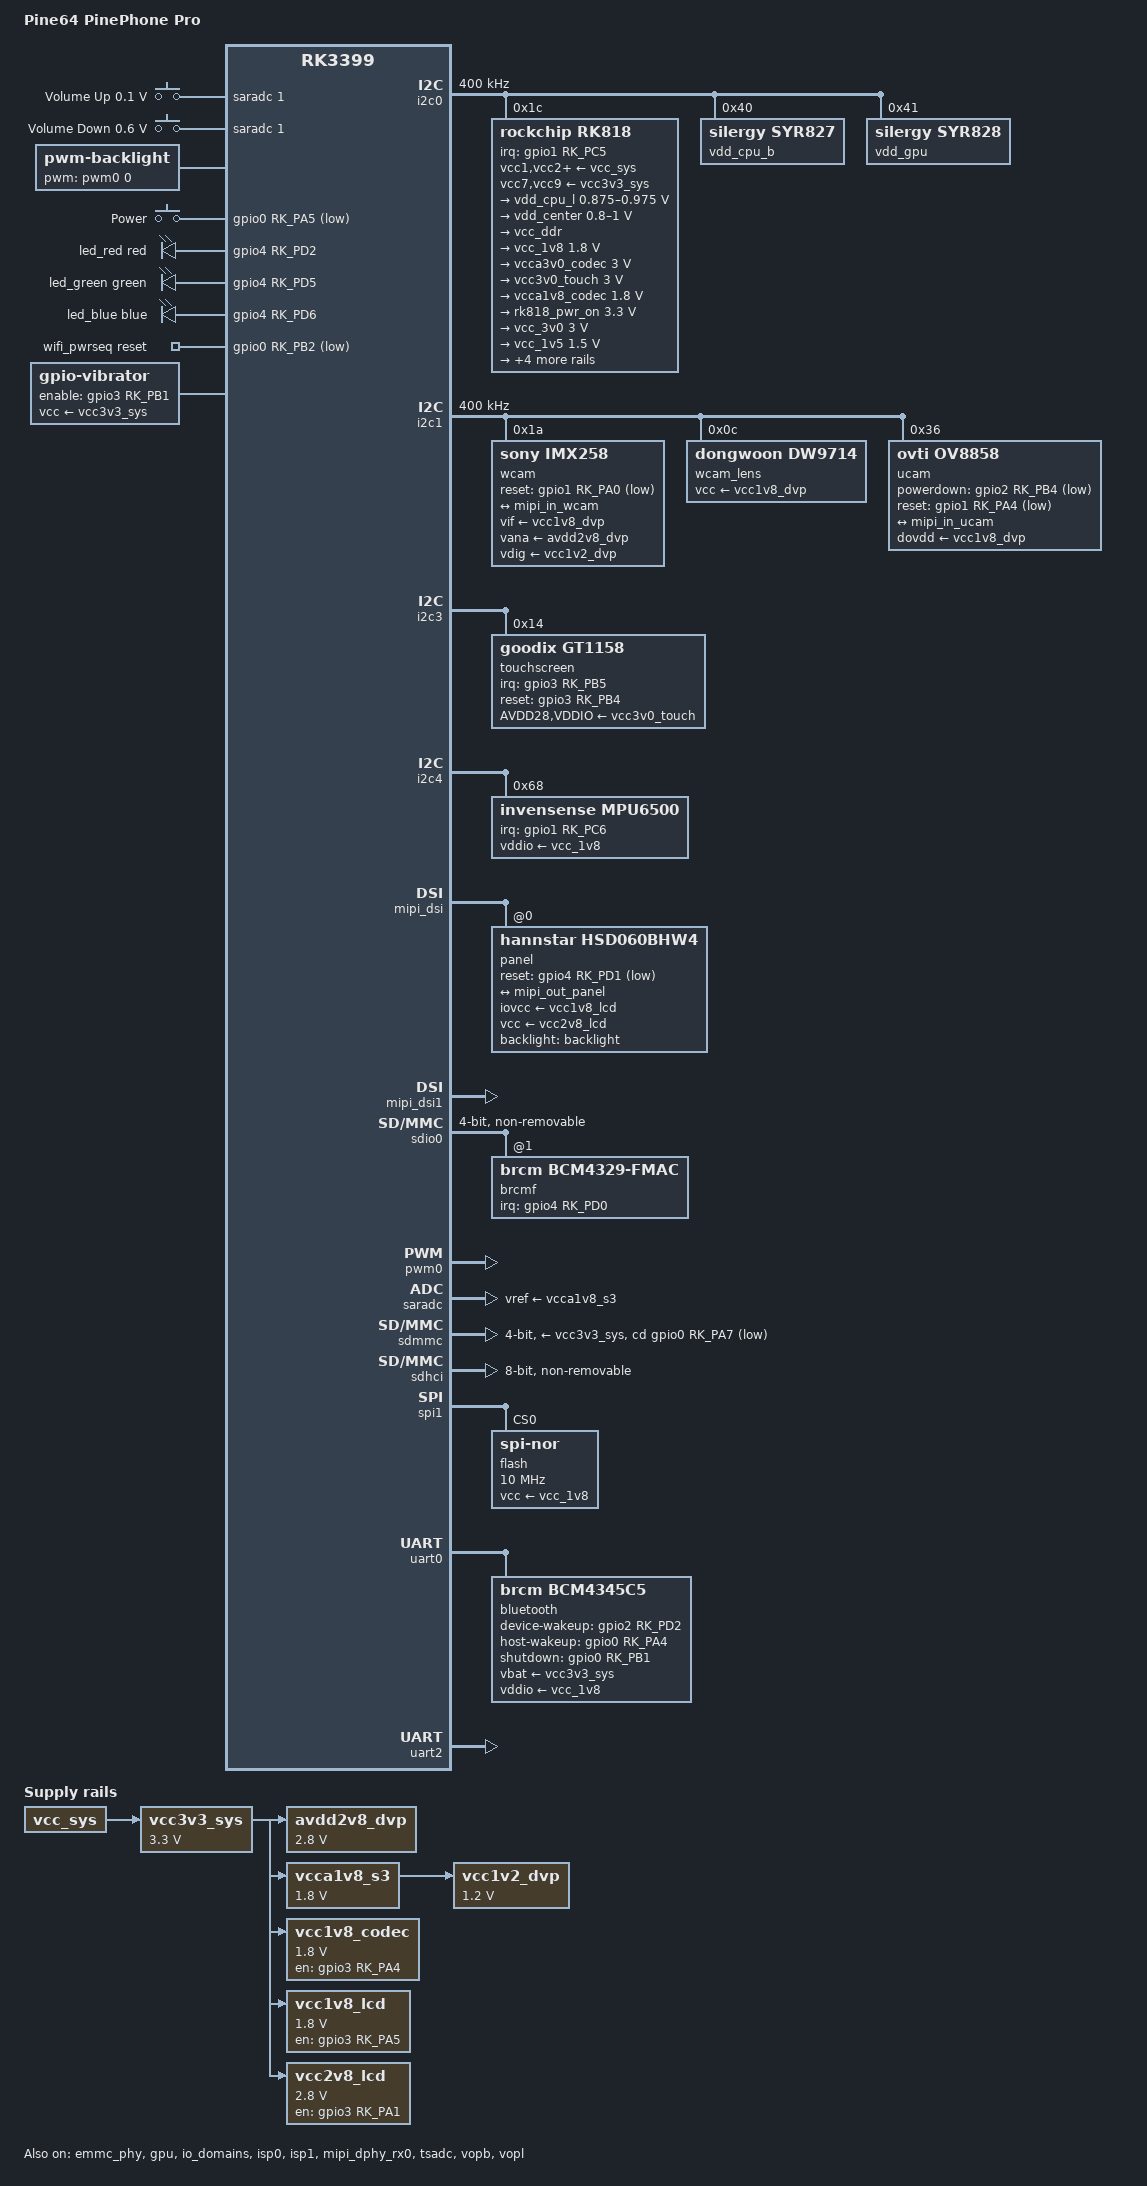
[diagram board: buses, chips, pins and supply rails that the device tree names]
// SPDX-License-Identifier: (GPL-2.0+ OR MIT)
/*
 * Copyright (c) 2020 Martijn Braam <martijn@brixit.nl>
 * Copyright (c) 2021 Kamil Trzciński <ayufan@ayufan.eu>
 */

/*
 * PinePhone Pro datasheet:
 * https://files.pine64.org/doc/PinePhonePro/PinephonePro-Schematic-V1.0-20211127.pdf
 */

/dts-v1/;
#include <dt-bindings/input/gpio-keys.h>
#include <dt-bindings/input/linux-event-codes.h>
#include <dt-bindings/leds/common.h>
#include "rk3399-s.dtsi"

/ {
	model = "Pine64 PinePhone Pro";
	compatible = "pine64,pinephone-pro", "rockchip,rk3399";
	chassis-type = "handset";

	aliases {
		mmc0 = &sdio0;
		mmc1 = &sdmmc;
		mmc2 = &sdhci;
	};

	chosen {
		stdout-path = "serial2:115200n8";
	};

	adc-keys {
		compatible = "adc-keys";
		io-channels = <&saradc 1>;
		io-channel-names = "buttons";
		keyup-threshold-microvolt = <1600000>;
		poll-interval = <100>;

		button-up {
			label = "Volume Up";
			linux,code = <KEY_VOLUMEUP>;
			press-threshold-microvolt = <100000>;
		};

		button-down {
			label = "Volume Down";
			linux,code = <KEY_VOLUMEDOWN>;
			press-threshold-microvolt = <600000>;
		};
	};

	backlight: backlight {
		compatible = "pwm-backlight";
		pwms = <&pwm0 0 50000 0>;
	};

	gpio-keys {
		compatible = "gpio-keys";
		pinctrl-names = "default";
		pinctrl-0 = <&pwrbtn_pin>;

		key-power {
			debounce-interval = <20>;
			gpios = <&gpio0 RK_PA5 GPIO_ACTIVE_LOW>;
			label = "Power";
			linux,code = <KEY_POWER>;
			wakeup-source;
		};
	};

	leds {
		compatible = "gpio-leds";
		pinctrl-names = "default";
		pinctrl-0 = <&red_led_pin &green_led_pin &blue_led_pin>;

		led_red: led-0 {
			color = <LED_COLOR_ID_RED>;
			gpios = <&gpio4 RK_PD2 GPIO_ACTIVE_HIGH>;
		};

		led_green: led-1 {
			color = <LED_COLOR_ID_GREEN>;
			gpios = <&gpio4 RK_PD5 GPIO_ACTIVE_HIGH>;
		};

		led_blue: led-2 {
			color = <LED_COLOR_ID_BLUE>;
			gpios = <&gpio4 RK_PD6 GPIO_ACTIVE_HIGH>;
		};
	};

	multi-led {
		compatible = "leds-group-multicolor";
		color = <LED_COLOR_ID_RGB>;
		function = LED_FUNCTION_INDICATOR;
		leds = <&led_red>, <&led_green>, <&led_blue>;
	};

	vcc_sys: regulator-vcc-sys {
		compatible = "regulator-fixed";
		regulator-name = "vcc_sys";
		regulator-always-on;
		regulator-boot-on;
	};

	avdd2v8_dvp: regulator-avdd2v8-dvp {
		compatible = "regulator-fixed";
		regulator-name = "avdd2v8_dvp";
		regulator-always-on;
		regulator-boot-on;
		regulator-min-microvolt = <2800000>;
		regulator-max-microvolt = <2800000>;
		vin-supply = <&vcc3v3_sys>;
	};

	vcc3v3_sys: regulator-vcc3v3-sys {
		compatible = "regulator-fixed";
		regulator-name = "vcc3v3_sys";
		regulator-always-on;
		regulator-boot-on;
		regulator-min-microvolt = <3300000>;
		regulator-max-microvolt = <3300000>;
		vin-supply = <&vcc_sys>;
	};

	vcca1v8_s3: regulator-vcc1v8-s3 {
		compatible = "regulator-fixed";
		regulator-name = "vcca1v8_s3";
		regulator-min-microvolt = <1800000>;
		regulator-max-microvolt = <1800000>;
		vin-supply = <&vcc3v3_sys>;
		regulator-always-on;
		regulator-boot-on;
	};

	vcc1v8_codec: regulator-vcc1v8-codec {
		compatible = "regulator-fixed";
		enable-active-high;
		gpio = <&gpio3 RK_PA4 GPIO_ACTIVE_HIGH>;
		pinctrl-names = "default";
		pinctrl-0 = <&vcc1v8_codec_en>;
		regulator-name = "vcc1v8_codec";
		regulator-min-microvolt = <1800000>;
		regulator-max-microvolt = <1800000>;
		vin-supply = <&vcc3v3_sys>;
	};

	vcc1v2_dvp: regulator-vcc1v2-dvp {
		compatible = "regulator-fixed";
		regulator-name = "vcc1v2_dvp";
		regulator-always-on;
		regulator-boot-on;
		regulator-min-microvolt = <1200000>;
		regulator-max-microvolt = <1200000>;
		vin-supply = <&vcca1v8_s3>;
	};

	wifi_pwrseq: sdio-wifi-pwrseq {
		compatible = "mmc-pwrseq-simple";
		clocks = <&rk818 1>;
		clock-names = "ext_clock";
		pinctrl-names = "default";
		pinctrl-0 = <&wifi_enable_h_pin>;
		/*
		 * Wait between power-on and SDIO access for CYP43455
		 * POR circuit.
		 */
		post-power-on-delay-ms = <110>;
		/*
		 * Wait between consecutive toggles for CYP43455 CBUCK
		 * regulator discharge.
		 */
		power-off-delay-us = <10000>;

		/* WL_REG_ON on module */
		reset-gpios = <&gpio0 RK_PB2 GPIO_ACTIVE_LOW>;
	};

	/* MIPI DSI panel 1.8v supply */
	vcc1v8_lcd: regulator-vcc1v8-lcd {
		compatible = "regulator-fixed";
		enable-active-high;
		regulator-name = "vcc1v8_lcd";
		regulator-min-microvolt = <1800000>;
		regulator-max-microvolt = <1800000>;
		vin-supply = <&vcc3v3_sys>;
		gpio = <&gpio3 RK_PA5 GPIO_ACTIVE_HIGH>;
	};

	/* MIPI DSI panel 2.8v supply */
	vcc2v8_lcd: regulator-vcc2v8-lcd {
		compatible = "regulator-fixed";
		enable-active-high;
		regulator-name = "vcc2v8_lcd";
		regulator-min-microvolt = <2800000>;
		regulator-max-microvolt = <2800000>;
		vin-supply = <&vcc3v3_sys>;
		gpio = <&gpio3 RK_PA1 GPIO_ACTIVE_HIGH>;
	};

	vibrator {
		compatible = "gpio-vibrator";
		enable-gpios = <&gpio3 RK_PB1 GPIO_ACTIVE_HIGH>;
		vcc-supply = <&vcc3v3_sys>;
	};
};

&cpu_alert0 {
	temperature = <65000>;
};
&cpu_alert1 {
	temperature = <68000>;
};

&cpu_l0 {
	cpu-supply = <&vdd_cpu_l>;
};

&cpu_l1 {
	cpu-supply = <&vdd_cpu_l>;
};

&cpu_l2 {
	cpu-supply = <&vdd_cpu_l>;
};

&cpu_l3 {
	cpu-supply = <&vdd_cpu_l>;
};

&cpu_b0 {
	cpu-supply = <&vdd_cpu_b>;
};

&cpu_b1 {
	cpu-supply = <&vdd_cpu_b>;
};

&emmc_phy {
	status = "okay";
};

&gpu {
	mali-supply = <&vdd_gpu>;
	status = "okay";
};

&i2c0 {
	clock-frequency = <400000>;
	i2c-scl-rising-time-ns = <168>;
	i2c-scl-falling-time-ns = <4>;
	status = "okay";

	rk818: pmic@1c {
		compatible = "rockchip,rk818";
		reg = <0x1c>;
		interrupt-parent = <&gpio1>;
		interrupts = <RK_PC5 IRQ_TYPE_LEVEL_LOW>;
		#clock-cells = <1>;
		clock-output-names = "xin32k", "rk808-clkout2";
		pinctrl-names = "default";
		pinctrl-0 = <&pmic_int_l>;
		system-power-controller;
		wakeup-source;

		vcc1-supply = <&vcc_sys>;
		vcc2-supply = <&vcc_sys>;
		vcc3-supply = <&vcc_sys>;
		vcc4-supply = <&vcc_sys>;
		vcc6-supply = <&vcc_sys>;
		vcc7-supply = <&vcc3v3_sys>;
		vcc8-supply = <&vcc_sys>;
		vcc9-supply = <&vcc3v3_sys>;

		regulators {
			vdd_cpu_l: DCDC_REG1 {
				regulator-name = "vdd_cpu_l";
				regulator-always-on;
				regulator-boot-on;
				regulator-min-microvolt = <875000>;
				regulator-max-microvolt = <975000>;
				regulator-ramp-delay = <6001>;
				regulator-state-mem {
					regulator-off-in-suspend;
				};
			};

			vdd_center: DCDC_REG2 {
				regulator-name = "vdd_center";
				regulator-always-on;
				regulator-boot-on;
				regulator-min-microvolt = <800000>;
				regulator-max-microvolt = <1000000>;
				regulator-ramp-delay = <6001>;
				regulator-state-mem {
					regulator-off-in-suspend;
				};
			};

			vcc_ddr: DCDC_REG3 {
				regulator-name = "vcc_ddr";
				regulator-always-on;
				regulator-boot-on;
				regulator-state-mem {
					regulator-on-in-suspend;
				};
			};

			vcc_1v8: DCDC_REG4 {
				regulator-name = "vcc_1v8";
				regulator-always-on;
				regulator-boot-on;
				regulator-min-microvolt = <1800000>;
				regulator-max-microvolt = <1800000>;
				regulator-state-mem {
					regulator-on-in-suspend;
				};
			};

			vcca3v0_codec: LDO_REG1 {
				regulator-name = "vcca3v0_codec";
				regulator-min-microvolt = <3000000>;
				regulator-max-microvolt = <3000000>;
			};

			vcc3v0_touch: LDO_REG2 {
				regulator-name = "vcc3v0_touch";
				regulator-min-microvolt = <3000000>;
				regulator-max-microvolt = <3000000>;
			};

			vcca1v8_codec: LDO_REG3 {
				regulator-name = "vcca1v8_codec";
				regulator-always-on;
				regulator-boot-on;
				regulator-min-microvolt = <1800000>;
				regulator-max-microvolt = <1800000>;
			};

			rk818_pwr_on: LDO_REG4 {
				regulator-name = "rk818_pwr_on";
				regulator-always-on;
				regulator-boot-on;
				regulator-min-microvolt = <3300000>;
				regulator-max-microvolt = <3300000>;
				regulator-state-mem {
					regulator-on-in-suspend;
				};
			};

			vcc_3v0: LDO_REG5 {
				regulator-name = "vcc_3v0";
				regulator-always-on;
				regulator-boot-on;
				regulator-min-microvolt = <3000000>;
				regulator-max-microvolt = <3000000>;
				regulator-state-mem {
					regulator-on-in-suspend;
				};
			};

			vcc_1v5: LDO_REG6 {
				regulator-name = "vcc_1v5";
				regulator-always-on;
				regulator-boot-on;
				regulator-min-microvolt = <1500000>;
				regulator-max-microvolt = <1500000>;
				regulator-state-mem {
					regulator-on-in-suspend;
				};
			};

			vcc1v8_dvp: LDO_REG7 {
				regulator-name = "vcc1v8_dvp";
				regulator-min-microvolt = <1800000>;
				regulator-max-microvolt = <1800000>;
			};

			vcc3v3_s3: LDO_REG8 {
				regulator-name = "vcc3v3_s3";
				regulator-always-on;
				regulator-boot-on;
				regulator-min-microvolt = <3300000>;
				regulator-max-microvolt = <3300000>;
				regulator-state-mem {
					regulator-off-in-suspend;
				};
			};

			vccio_sd: LDO_REG9 {
				regulator-name = "vccio_sd";
				regulator-min-microvolt = <1800000>;
				regulator-max-microvolt = <3300000>;
			};

			vcc3v3_s0: SWITCH_REG {
				regulator-name = "vcc3v3_s0";
				regulator-always-on;
				regulator-boot-on;
				regulator-state-mem {
					regulator-on-in-suspend;
				};
			};
		};
	};

	vdd_cpu_b: regulator@40 {
		compatible = "silergy,syr827";
		reg = <0x40>;
		fcs,suspend-voltage-selector = <1>;
		pinctrl-names = "default";
		pinctrl-0 = <&vsel1_pin>;
		regulator-name = "vdd_cpu_b";
		regulator-min-microvolt = <875000>;
		regulator-max-microvolt = <1150000>;
		regulator-ramp-delay = <1000>;
		regulator-always-on;
		regulator-boot-on;

		regulator-state-mem {
			regulator-off-in-suspend;
		};
	};

	vdd_gpu: regulator@41 {
		compatible = "silergy,syr828";
		reg = <0x41>;
		fcs,suspend-voltage-selector = <1>;
		pinctrl-names = "default";
		pinctrl-0 = <&vsel2_pin>;
		regulator-name = "vdd_gpu";
		regulator-min-microvolt = <875000>;
		regulator-max-microvolt = <975000>;
		regulator-ramp-delay = <1000>;
		regulator-always-on;
		regulator-boot-on;

		regulator-state-mem {
			regulator-off-in-suspend;
		};
	};
};

&i2c1 {
	assigned-clocks = <&cru SCLK_CIF_OUT>;
	assigned-clock-rates = <24000000>;
	clock-frequency = <400000>;
	pinctrl-names = "default";
	pinctrl-0 = <&i2c1_xfer &cif_clkouta>;
	status = "okay";

	wcam: camera@1a {
		compatible = "sony,imx258";
		reg = <0x1a>;
		clocks = <&cru SCLK_CIF_OUT>; /* MIPI_MCLK0, derived from CIF_CLKO */
		lens-focus = <&wcam_lens>;
		orientation = <1>; /* V4L2_CAMERA_ORIENTATION_BACK */
		pinctrl-names = "default";
		pinctrl-0 = <&camera_rst_l>;
		reset-gpios = <&gpio1 RK_PA0 GPIO_ACTIVE_LOW>;
		rotation = <270>;
		/* Note: both cameras also depend on vcca1v8_codec to power the I2C bus. */
		vif-supply = <&vcc1v8_dvp>;
		vana-supply = <&avdd2v8_dvp>;
		vdig-supply = <&vcc1v2_dvp>; /* DVDD_DVP is the same as VCC1V2_DVP */

		port {
			wcam_out: endpoint {
				data-lanes = <1 2 3 4>;
				link-frequencies = /bits/ 64 <636000000>;
				remote-endpoint = <&mipi_in_wcam>;
			};
		};
	};

	wcam_lens: camera-lens@c {
		compatible = "dongwoon,dw9714";
		reg = <0x0c>;
		/* Same I2c bus as both cameras, depends on vcca1v8_codec for power. */
		vcc-supply = <&vcc1v8_dvp>;
	};

	ucam: camera@36 {
		compatible = "ovti,ov8858";
		reg = <0x36>;
		clocks = <&cru SCLK_CIF_OUT>; /* MIPI_MCLK1, derived from CIF_CLK0 */
		clock-names = "xvclk";
		dovdd-supply = <&vcc1v8_dvp>;
		orientation = <0>; /* V4L2_CAMERA_ORIENTATION_FRONT */
		pinctrl-names = "default";
		pinctrl-0 = <&camera2_rst_l &dvp_pdn0_h>;
		powerdown-gpios = <&gpio2 RK_PB4 GPIO_ACTIVE_LOW>;
		reset-gpios = <&gpio1 RK_PA4 GPIO_ACTIVE_LOW>;
		rotation = <90>;

		port {
			ucam_out: endpoint {
				data-lanes = <1 2 3 4>;
				remote-endpoint = <&mipi_in_ucam>;
			};
		};
	};
};

&i2c3 {
	i2c-scl-rising-time-ns = <450>;
	i2c-scl-falling-time-ns = <15>;
	status = "okay";

	touchscreen@14 {
		compatible = "goodix,gt1158";
		reg = <0x14>;
		interrupt-parent = <&gpio3>;
		interrupts = <RK_PB5 IRQ_TYPE_EDGE_RISING>;
		irq-gpios = <&gpio3 RK_PB5 GPIO_ACTIVE_HIGH>;
		reset-gpios = <&gpio3 RK_PB4 GPIO_ACTIVE_HIGH>;
		AVDD28-supply = <&vcc3v0_touch>;
		VDDIO-supply = <&vcc3v0_touch>;
		touchscreen-size-x = <720>;
		touchscreen-size-y = <1440>;
	};
};

&i2c4 {
	i2c-scl-rising-time-ns = <600>;
	i2c-scl-falling-time-ns = <20>;
	status = "okay";

	/* Accelerometer/gyroscope */
	mpu6500@68 {
		compatible = "invensense,mpu6500";
		reg = <0x68>;
		interrupt-parent = <&gpio1>;
		interrupts = <RK_PC6 IRQ_TYPE_LEVEL_LOW>;
		vddio-supply = <&vcc_1v8>;
	};
};

&io_domains {
	bt656-supply = <&vcc1v8_dvp>;
	audio-supply = <&vcca1v8_codec>;
	sdmmc-supply = <&vccio_sd>;
	gpio1830-supply = <&vcc_3v0>;
	status = "okay";
};

&isp0 {
	status = "okay";

	ports {
		port@0 {
			mipi_in_ucam: endpoint@0 {
				reg = <0>;
				data-lanes = <1 2 3 4>;
				remote-endpoint = <&ucam_out>;
			};
		};
	};
};

&isp0_mmu {
	status = "okay";
};

&isp1 {
	status = "okay";

	ports {
		port@0 {
			mipi_in_wcam: endpoint@0 {
				reg = <0>;
				data-lanes = <1 2 3 4>;
				remote-endpoint = <&wcam_out>;
			};
		};
	};
};

&mipi_dphy_rx0 {
	status = "okay";
};

&isp1_mmu {
	status = "okay";
};

&mipi_dsi {
	clock-master;
	#address-cells = <1>;
	#size-cells = <0>;
	status = "okay";

	panel@0 {
		compatible = "hannstar,hsd060bhw4", "himax,hx8394";
		reg = <0>;
		backlight = <&backlight>;
		iovcc-supply = <&vcc1v8_lcd>;
		pinctrl-names = "default";
		pinctrl-0 = <&lcd1_rst_pin>;
		reset-gpios = <&gpio4 RK_PD1 GPIO_ACTIVE_LOW>;
		vcc-supply = <&vcc2v8_lcd>;

		port {
			mipi_in_panel: endpoint {
				remote-endpoint = <&mipi_out_panel>;
			};
		};
	};
};

&mipi_out {
	mipi_out_panel: endpoint {
		remote-endpoint = <&mipi_in_panel>;
	};
};

&mipi_dsi1 {
	status = "okay";
};

&pmu_io_domains {
	pmu1830-supply = <&vcc_1v8>;
	status = "okay";
};

&pinctrl {
	buttons {
		pwrbtn_pin: pwrbtn-pin {
			rockchip,pins = <0 RK_PA5 RK_FUNC_GPIO &pcfg_pull_up>;
		};
	};

	lcd {
		lcd1_rst_pin: lcd1-rst-pin {
			rockchip,pins = <4 RK_PD1 RK_FUNC_GPIO &pcfg_pull_none>;
		};
	};

	cameras {
		camera_rst_l: camera-rst-l {
			rockchip,pins = <1 RK_PA0 RK_FUNC_GPIO &pcfg_pull_none>;
		};
		camera2_rst_l: camera2-rst-l {
			rockchip,pins = <1 RK_PA4 RK_FUNC_GPIO &pcfg_pull_none>;
		};
		dvp_pdn0_h: dvp-pdn0-h {
			rockchip,pins = <2 RK_PB4 RK_FUNC_GPIO &pcfg_pull_none>;
		};
	};

	leds {
		red_led_pin: red-led-pin {
			rockchip,pins = <4 RK_PD2 RK_FUNC_GPIO &pcfg_pull_none>;
		};

		green_led_pin: green-led-pin {
			rockchip,pins = <4 RK_PD5 RK_FUNC_GPIO &pcfg_pull_none>;
		};

		blue_led_pin: blue-led-pin {
			rockchip,pins = <4 RK_PD6 RK_FUNC_GPIO &pcfg_pull_none>;
		};
	};

	pmic {
		pmic_int_l: pmic-int-l {
			rockchip,pins = <1 RK_PC5 RK_FUNC_GPIO &pcfg_pull_up>;
		};

		vsel1_pin: vsel1-pin {
			rockchip,pins = <1 RK_PC1 RK_FUNC_GPIO &pcfg_pull_down>;
		};

		vsel2_pin: vsel2-pin {
			rockchip,pins = <1 RK_PB6 RK_FUNC_GPIO &pcfg_pull_down>;
		};
	};

	sdio-pwrseq {
		wifi_enable_h_pin: wifi-enable-h-pin {
			rockchip,pins = <0 RK_PB2 RK_FUNC_GPIO &pcfg_pull_none>;
		};
	};

	sound {
		vcc1v8_codec_en: vcc1v8-codec-en {
			rockchip,pins = <3 RK_PA4 RK_FUNC_GPIO &pcfg_pull_down>;
		};
	};

	wifi {
		wifi_host_wake_l: wifi-host-wake-l {
			rockchip,pins = <4 RK_PD0 RK_FUNC_GPIO &pcfg_pull_none>;
		};
	};

	wireless-bluetooth {
		bt_wake_pin: bt-wake-pin {
			rockchip,pins = <2 RK_PD2 RK_FUNC_GPIO &pcfg_pull_none>;
		};

		bt_host_wake_pin: bt-host-wake-pin {
			rockchip,pins = <0 RK_PA4 RK_FUNC_GPIO &pcfg_pull_none>;
		};

		bt_reset_pin: bt-reset-pin {
			rockchip,pins = <0 RK_PB1 RK_FUNC_GPIO &pcfg_pull_none>;
		};
	};
};

&sdio0 {
	bus-width = <4>;
	cap-sd-highspeed;
	cap-sdio-irq;
	disable-wp;
	keep-power-in-suspend;
	mmc-pwrseq = <&wifi_pwrseq>;
	non-removable;
	pinctrl-names = "default";
	pinctrl-0 = <&sdio0_bus4 &sdio0_cmd &sdio0_clk>;
	sd-uhs-sdr104;
	#address-cells = <1>;
	#size-cells = <0>;
	status = "okay";

	brcmf: wifi@1 {
		compatible = "brcm,bcm4329-fmac";
		reg = <1>;
		interrupt-parent = <&gpio4>;
		interrupts = <RK_PD0 IRQ_TYPE_LEVEL_HIGH>;
		interrupt-names = "host-wake";
		pinctrl-names = "default";
		pinctrl-0 = <&wifi_host_wake_l>;
	};
};

&pwm0 {
	status = "okay";
};

&saradc {
	vref-supply = <&vcca1v8_s3>;
	status = "okay";
};

&sdmmc {
	bus-width = <4>;
	cap-sd-highspeed;
	cd-gpios = <&gpio0 RK_PA7 GPIO_ACTIVE_LOW>;
	disable-wp;
	max-frequency = <150000000>;
	pinctrl-names = "default";
	pinctrl-0 = <&sdmmc_clk &sdmmc_cmd &sdmmc_cd &sdmmc_bus4>;
	vmmc-supply = <&vcc3v3_sys>;
	vqmmc-supply = <&vccio_sd>;
	status = "okay";
};

&sdhci {
	bus-width = <8>;
	mmc-hs200-1_8v;
	non-removable;
	status = "okay";
};

&spi1 {
	status = "okay";

	flash@0 {
		compatible = "jedec,spi-nor";
		reg = <0>;
		spi-max-frequency = <10000000>;
		vcc-supply = <&vcc_1v8>;
	};
};

&tsadc {
	rockchip,hw-tshut-mode = <1>;
	rockchip,hw-tshut-polarity = <1>;
	status = "okay";
};

&uart0 {
	pinctrl-names = "default";
	pinctrl-0 = <&uart0_xfer &uart0_cts &uart0_rts>;
	uart-has-rtscts;
	status = "okay";

	bluetooth {
		compatible = "brcm,bcm4345c5";
		clocks = <&rk818 1>;
		clock-names = "lpo";
		device-wakeup-gpios = <&gpio2 RK_PD2 GPIO_ACTIVE_HIGH>;
		host-wakeup-gpios = <&gpio0 RK_PA4 GPIO_ACTIVE_HIGH>;
		max-speed = <1500000>;
		pinctrl-names = "default";
		pinctrl-0 = <&bt_host_wake_pin &bt_wake_pin &bt_reset_pin>;
		shutdown-gpios = <&gpio0 RK_PB1 GPIO_ACTIVE_HIGH>;
		vbat-supply = <&vcc3v3_sys>;
		vddio-supply = <&vcc_1v8>;
	};
};

&uart2 {
	status = "okay";
};

&vopb {
	status = "okay";
	assigned-clocks = <&cru DCLK_VOP0_DIV>, <&cru DCLK_VOP0>,
			  <&cru ACLK_VOP0>, <&cru HCLK_VOP0>;
	assigned-clock-rates = <0>, <0>, <400000000>, <100000000>;
	assigned-clock-parents = <&cru PLL_GPLL>, <&cru DCLK_VOP0_DIV>;
};

&vopb_mmu {
	status = "okay";
};

&vopl {
	status = "okay";
	assigned-clocks = <&cru DCLK_VOP1_DIV>, <&cru DCLK_VOP1>,
			  <&cru ACLK_VOP1>, <&cru HCLK_VOP1>;
	assigned-clock-rates = <0>, <0>, <400000000>, <100000000>;
	assigned-clock-parents = <&cru PLL_GPLL>, <&cru DCLK_VOP1_DIV>;
};

&vopl_mmu {
	status = "okay";
};
